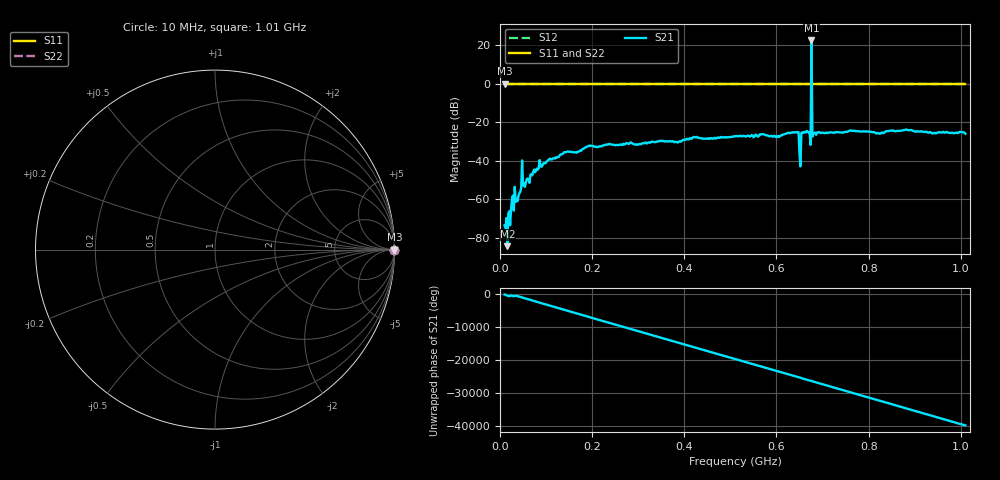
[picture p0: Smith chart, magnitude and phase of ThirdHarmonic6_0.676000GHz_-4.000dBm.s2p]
! 8/15/2025 10:30:56 PM
! C:\ANRITSUVNA\TEMP\TEMP.S2P
! CHANNEL.1
! TR.MEASUREMENT
! RAW.DATA
! RF.CORRECTION.OFF
! AVERAGING.OFF
! IF.BANDWIDTH: 5KHZ
! SWEEPTYPE:  FREQ.SWEEP(Linear)
! Reference Plane Port Info
! PORT:  PORT1  PORT2
! DISTANCE:  0  m  0  m
! TIME:  0  s  0  s
! PHASE.OFFSET:  0  deg.  0  deg.
! LOSS:  0  dB  0  dB
! REF.LOSS:  0  dB  0  dB
! REF.FREQ:  0  Hz  0  Hz
! Power Info
! POWER:  -20  dBm  -20  dBm
! EFF.POWER:  -20  dBm  -20  dBm
! SOURCE.ATTEN:  0  dB  0  dB
! TEST.ATTEN:  0  dB  0  dB
# GHZ S RI R 50.0
! FREQ.GHZ  S11RE  S11IM  S21RE  S21IM  S12RE  S12IM  S22RE  S22IM
!; PortSelection: Port_12
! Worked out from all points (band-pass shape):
!   501 points, 10 MHz to 1.01 GHz, reference 50 ohm
!   highest |S21| = 22.40 dB at 676 MHz (marker M1); lowest = -84.5 dB at 16 MHz (marker M2)
!   |S21| within 3 dB of the highest: 675.8895 MHz to 676.12 MHz (230.5 kHz wide, 0.0341 % of centre)
!   lowest |S11| = 0.0 dB at 10 MHz (marker M3)
!   |S11| at or under -10 dB: nowhere
!   |S22| runs from 0.0 to 0.0 dB; largest |S21 - S12| = 13
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0.01  1 0  -6.84e-05 -0.000195  1 0  1 0
0.016  1 0  -3.2e-05 -5.02e-05  1 0  1 0
0.02  1 0  -4.05e-05 0.000479  1 0  1 0
0.028  1 0  -0.00122 -0.000107  1 0  1 0
0.038  1 0  -0.000539 0.000691  1 0  1 0
0.052  1 0  -5.31e-05 -0.00261  1 0  1 0
0.106  1 0  -0.00781 -0.00708  1 0  1 0
0.178  1 0  -0.0189 -0.0041  1 0  1 0
0.344  1 0  0.0302 -0.00794  1 0  1 0
0.51  1 0  -0.039 0.018  1 0  1 0
0.644  1 0  -0.0526 0.0117  1 0  1 0
0.648  1 0  0.0542 0.00571  1 0  1 0
0.654  1 0  -0.0281 0.0444  1 0  1 0
0.658  1 0  0.0408 -0.0322  1 0  1 0
0.67  1 0  -0.0503 -0.0165  1 0  1 0
0.672  1 0  -0.0251 0.0476  1 0  1 0
0.676  1 0  8.578 10.01  1 0  1 0
0.678  1 0  -0.0271 -0.0318  1 0  1 0
0.68  1 0  -0.046 0.0225  1 0  1 0
0.682  1 0  0.0141 0.0499  1 0  1 0
0.844  1 0  0.047 0.035  1 0  1 0
1.01  1 0  -0.0495 -0.00497  1 0  1 0
